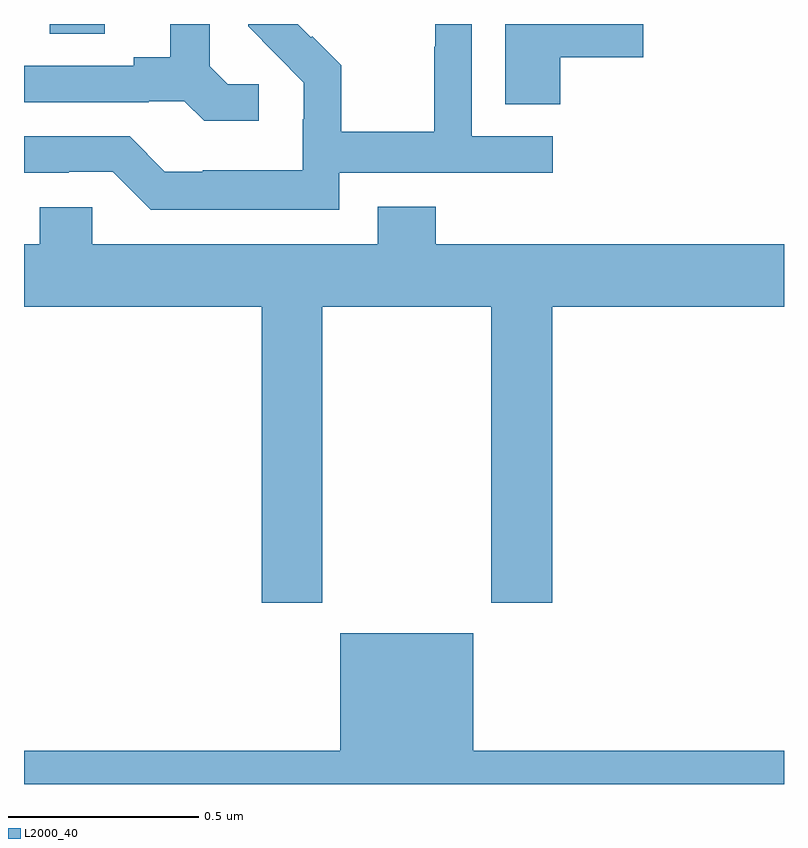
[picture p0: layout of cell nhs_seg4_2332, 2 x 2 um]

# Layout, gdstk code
import gdstk
lib = gdstk.Library(unit=1e-6, precision=1e-09)
def R(c, l, rs):  # rectangles x0, y0, x1, y1
    for r in rs: c.add(gdstk.rectangle(r[:2], r[2:], *l))
def P(c, l, *ps):  # polygons
    for p in ps: c.add(gdstk.Polygon(p, *l))
L2000_40 = (2000, 40)

nhs_seg4_2332 = lib.new_cell('nhs_seg4_2332')
R(nhs_seg4_2332, L2000_40, [(139.068,794.875,139.213,794.9)])
P(nhs_seg4_2332, L2000_40, [(139.618,794.742),(139.536,794.742),(139.489,794.789),(139.489,794.9),(139.385,794.9),(139.385,794.813),(139.289,794.813),(139.289,794.79),(139,794.79),(139,794.694),(139.328,794.694),(139.328,794.697),(139.422,794.697),(139.474,794.645),(139.618,794.645)],
  [(140.411,794.813),(140.629,794.813),(140.629,794.9),(140.267,794.9),(140.267,794.689),(140.411,794.689)],
  [(139.83,794.508),(140.392,794.508),(140.392,794.604),(140.178,794.604),(140.178,794.9),(140.082,794.9),(140.082,794.84),(140.08,794.84),(140.08,794.617),(139.835,794.617),(139.835,794.791),(139.758,794.868),(139.755,794.865),(139.72,794.9),(139.59,794.9),(139.59,794.894),(139.663,794.821),(139.662,794.82),(139.736,794.746),(139.736,794.649),(139.734,794.649),(139.734,794.515),(139.471,794.515),(139.471,794.511),(139.371,794.511),(139.278,794.604),(139,794.604),(139,794.508),(139.118,794.508),(139.118,794.511),(139.233,794.511),(139.333,794.411),(139.83,794.411)],
  [(139.785,794.156),(140.23,794.156),(140.23,793.377),(140.39,793.377),(140.39,794.156),(141,794.156),(141,794.32),(140.084,794.32),(140.084,794.419),(139.931,794.419),(139.931,794.32),(139.179,794.32),(139.179,794.418),(139.041,794.418),(139.041,794.32),(139,794.32),(139,794.156),(139.625,794.156),(139.625,793.377),(139.785,793.377)],
  [(141,792.988),(140.182,792.988),(140.182,793.297),(139.832,793.297),(139.832,792.988),(139,792.988),(139,792.9),(141,792.9)])

lib.write_gds('nhs_seg4_2332.gds')
